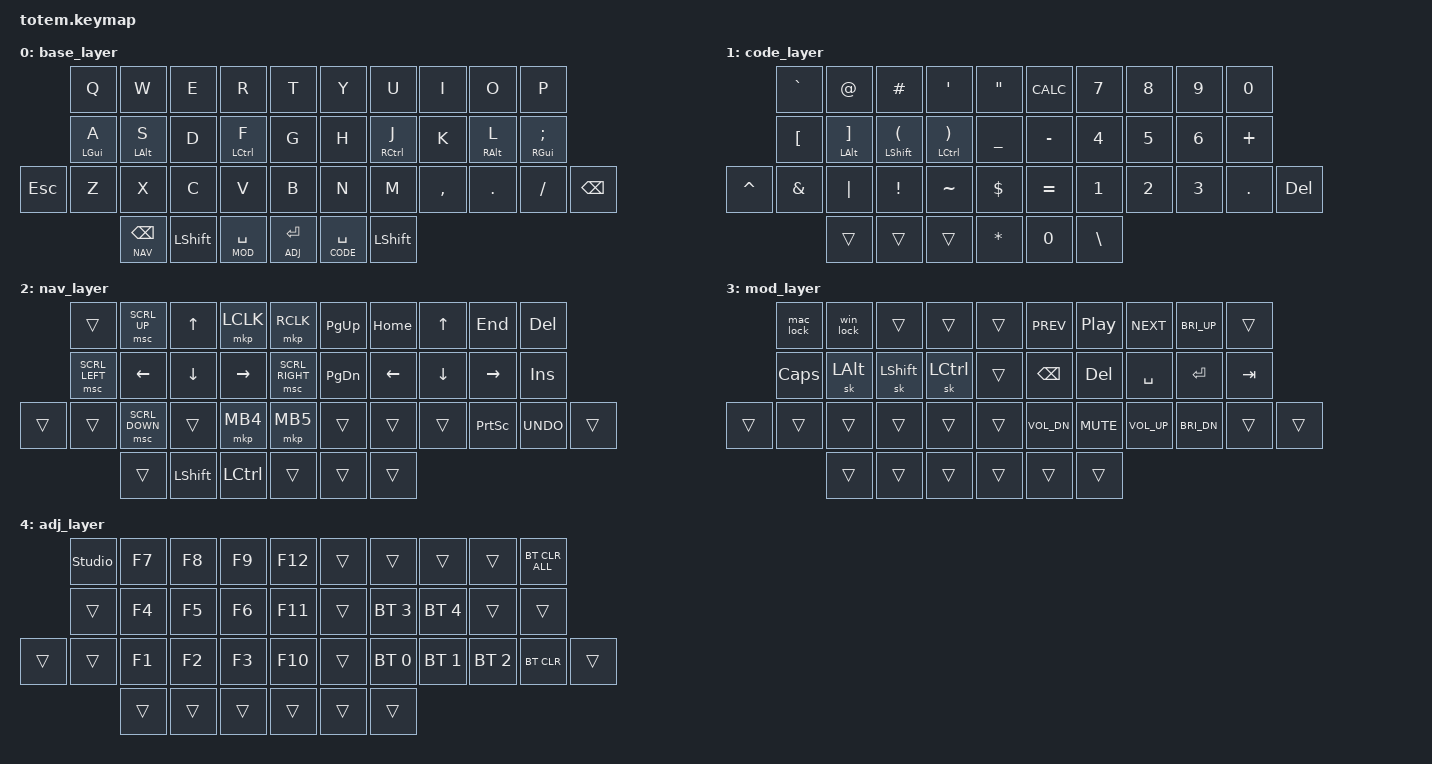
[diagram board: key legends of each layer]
#include <behaviors.dtsi>
#include <dt-bindings/zmk/keys.h>
#include <dt-bindings/zmk/bt.h>
#include <dt-bindings/zmk/mouse.h>

#define BASE 0
#define CODE 1
#define NAV  2
#define MOD  3
#define ADJ  4

/ {
    behaviors {
        hml: homerow_mods_left {
            compatible = "zmk,behavior-hold-tap";
            #binding-cells = <2>;
            tapping-term-ms = <200>;
            quick-tap-ms = <175>;
            require-prior-idle-ms = <300>;
            flavor = "balanced";
            bindings = <&kp>, <&kp>;
        };
        
        hmr: homerow_mods_right {
            compatible = "zmk,behavior-hold-tap";
            #binding-cells = <2>;
            tapping-term-ms = <200>;
            quick-tap-ms = <175>;
            require-prior-idle-ms = <300>;
            flavor = "balanced";
            bindings = <&kp>, <&kp>;
        };
        
        td_bs_pipe: backslash_pipe {
            compatible = "zmk,behavior-hold-tap";
            #binding-cells = <2>;
            tapping-term-ms = <200>;
            flavor = "tap-preferred";
            bindings = <&kp>, <&kp>;
        };
    };

    combos {
        compatible = "zmk,combos";
        
        combo_esc {
            timeout-ms = <50>;
            key-positions = <0 1>;
            bindings = <&kp ESC>;
            layers = <0>; 
        };
        
        combo_dictation {
            timeout-ms = <50>;
            key-positions = <26 27>;
            bindings = <&kp LA(SPACE)>;
            slow-release;
            layers = <0>; 
        };
        
        combo_enye {
            timeout-ms = <50>;
            key-positions = <8 9>;
            bindings = <&kp RA(N)>;
            layers = <0>; 
        };
    };

    macros {
        mac_lock: mac_lock_screen {
            compatible = "zmk,behavior-macro";
            #binding-cells = <0>;
            bindings = <&macro_press &kp LGUI &kp LCTRL>
                     , <&macro_pause_for_release>
                     , <&macro_tap &kp Q>
                     , <&macro_release &kp LGUI &kp LCTRL>;
        };
        
        win_lock: win_lock_screen {
            compatible = "zmk,behavior-macro";
            #binding-cells = <0>;
            bindings = <&macro_press &kp LGUI>
                     , <&macro_tap &kp L>
                     , <&macro_release &kp LGUI>;
        };
    };

    keymap {
        compatible = "zmk,keymap";

    base_layer {
        bindings = <
                &kp Q           &kp W           &kp E           &kp R           &kp T            &kp Y           &kp U           &kp I           &kp O           &kp P
                &hml LGUI A     &hml LALT S     &kp D		&hml LCTRL F    &kp G            &kp H           &hmr RCTRL J    &kp K	    	&hmr RALT L     &hmr RGUI SEMI
     &kp ESC    &kp Z           &kp X           &kp C           &kp V           &kp B            &kp N           &kp M           &kp COMMA       &kp DOT         &kp FSLH        &kp BSPC
                        			&lt NAV BSPC   &kp LSHFT      &lt MOD SPACE     &lt ADJ ENTER   &lt CODE SPACE   &kp LSHFT
        >;
    };


    code_layer {
        bindings = <
            	&kp GRAVE       &kp AT          &kp HASH        &kp SQT         &kp DQT         &kp K_CALC      &kp N7          &kp N8          &kp N9          &kp N0
            	&kp LBKT        &hml LALT RBKT  &hml LSHFT LPAR &hml LCTRL RPAR &kp UNDER       &kp MINUS       &kp N4		&kp N5	   	&kp N6		&kp PLUS
  &kp CARET       &kp AMPS        &kp PIPE        &kp EXCL        &kp TILDE       &kp DLLR        &kp EQUAL       &kp N1          &kp N2          &kp N3          &kp DOT         &kp DEL
        					&trans          &trans          &trans          &kp STAR	&kp N0          &kp BSLH
        >;
    };

        nav_layer {
            bindings = <
                &trans          &msc SCRL_UP    &kp UP    	&mkp LCLK      	&mkp RCLK       &kp PG_UP       &kp HOME        &kp UP          &kp END         &kp DEL
                &msc SCRL_LEFT  &kp LEFT  	&kp DOWN 	&kp RIGHT	&msc SCRL_RIGHT &kp PG_DN       &kp LEFT        &kp DOWN        &kp RIGHT       &kp INS
  &trans          &trans          &msc SCRL_DOWN  &trans          &mkp MB4        &mkp MB5        &trans          &trans          &trans          &kp PSCRN       &kp K_UNDO      &trans
                				&trans          &kp LSHFT       &kp LCTRL       &trans          &trans          &trans
            >;
        };

        mod_layer {
            bindings = <
                &mac_lock       &win_lock       &trans          &trans          &trans          &kp C_PREV      &kp C_PP        &kp C_NEXT      &kp C_BRI_UP    &trans
                &kp CAPS        &sk LALT        &sk LSHFT       &sk LCTRL       &trans          &kp BSPC        &kp DEL         &kp SPACE       &kp ENTER       &kp TAB
  &trans          &trans          &trans          &trans          &trans          &trans          &kp C_VOL_DN    &kp C_MUTE      &kp C_VOL_UP    &kp C_BRI_DN    &trans          &trans
                                                &trans          &trans          &trans          &trans          &trans          &trans
            >;
        };

        adj_layer {
            bindings = <
                &studio_unlock  &kp F7          &kp F8          &kp F9          &kp F12         &trans          &trans          &trans          &trans          &bt BT_CLR_ALL
                &trans          &kp F4          &kp F5          &kp F6          &kp F11         &trans          &bt BT_SEL 3    &bt BT_SEL 4    &trans          &trans
  &trans          &trans          &kp F1          &kp F2          &kp F3          &kp F10         &trans          &bt BT_SEL 0    &bt BT_SEL 1    &bt BT_SEL 2    &bt BT_CLR      &trans
                                                &trans          &trans          &trans          &trans          &trans          &trans
            >;
        };
    };
};

&sk {
    release-after-ms = <2000>;
    quick-release;
};
